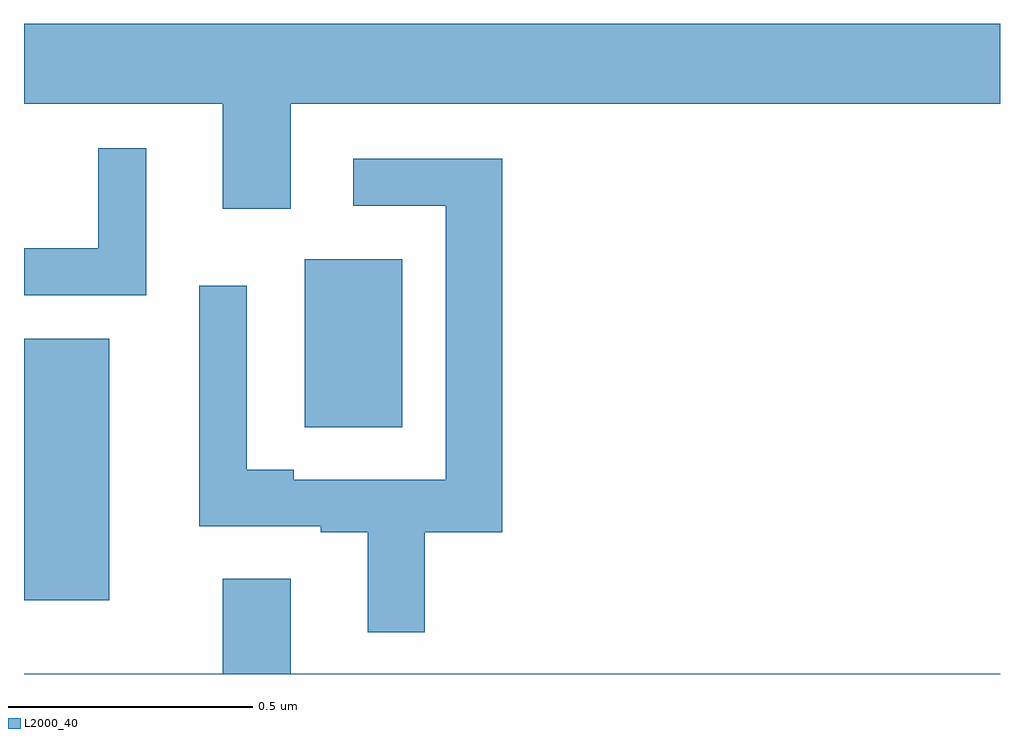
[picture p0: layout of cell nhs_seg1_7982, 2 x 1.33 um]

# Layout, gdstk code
import gdstk
lib = gdstk.Library(unit=1e-6, precision=1e-09)
def R(c, l, rs):  # rectangles x0, y0, x1, y1
    for r in rs: c.add(gdstk.rectangle(r[:2], r[2:], *l))
def P(c, l, *ps):  # polygons
    for p in ps: c.add(gdstk.Polygon(p, *l))
L2000_40 = (2000, 40)

nhs_seg1_7982 = lib.new_cell('nhs_seg1_7982')
R(nhs_seg1_7982, L2000_40, [(210,581.351,210.175,581.887), (210.575,581.705,210.775,582.049)])
P(nhs_seg1_7982, L2000_40, [(210.547,582.368),(212,582.368),(212,582.532),(210,582.532),(210,582.368),(210.407,582.368),(210.407,582.153),(210.547,582.153)],
  [(210.25,582.277),(210.152,582.277),(210.152,582.072),(210,582.072),(210,581.976),(210.25,581.976)],
  [(210.821,581.49),(210.98,581.49),(210.98,582.255),(210.675,582.255),(210.675,582.159),(210.864,582.159),(210.864,581.598),(210.553,581.598),(210.553,581.618),(210.456,581.618),(210.456,581.995),(210.359,581.995),(210.359,581.502),(210.608,581.502),(210.608,581.49),(210.704,581.49),(210.704,581.285),(210.821,581.285)],
  [(212,581.2),(210.547,581.2),(210.547,581.395),(210.407,581.395),(210.407,581.2),(210,581.2),(210,581.199),(212,581.199)])

lib.write_gds('nhs_seg1_7982.gds')
